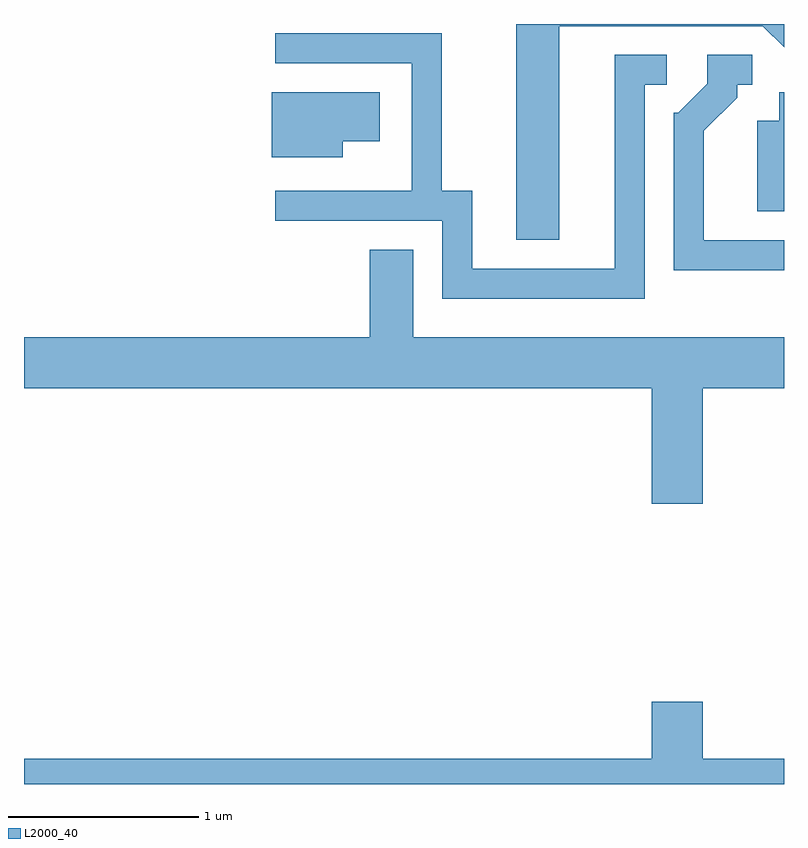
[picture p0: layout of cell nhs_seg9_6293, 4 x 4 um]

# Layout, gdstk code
import gdstk
lib = gdstk.Library(unit=1e-6, precision=1e-09)
def P(c, l, *ps):  # polygons
    for p in ps: c.add(gdstk.Polygon(p, *l))
L2000_40 = (2000, 40)

nhs_seg9_6293 = lib.new_cell('nhs_seg9_6293')
P(nhs_seg9_6293, L2000_40, [(374.429,1960.421),(375.499,1960.421),(375.611,1960.309),(375.611,1960.432),(374.201,1960.432),(374.201,1959.296),(374.429,1959.296)],
  [(374.879,1960.111),(374.993,1960.111),(374.993,1960.269),(374.721,1960.269),(374.721,1959.144),(373.969,1959.144),(373.969,1959.554),(373.809,1959.554),(373.809,1960.384),(372.933,1960.384),(372.933,1960.226),(373.651,1960.226),(373.651,1959.554),(372.933,1959.554),(372.933,1959.396),(373.811,1959.396),(373.811,1958.986),(374.879,1958.986)],
  [(375.611,1959.294),(375.189,1959.294),(375.189,1959.869),(375.364,1960.044),(375.364,1960.111),(375.443,1960.111),(375.443,1960.269),(375.206,1960.269),(375.206,1960.117),(375.054,1959.964),(375.031,1959.964),(375.031,1959.136),(375.611,1959.136)],
  [(375.611,1960.074),(375.586,1960.074),(375.586,1959.924),(375.471,1959.924),(375.471,1959.446),(375.611,1959.446)],
  [(373.289,1959.816),(373.484,1959.816),(373.484,1960.074),(372.916,1960.074),(372.916,1959.731),(373.289,1959.731)],
  [(375.184,1958.516),(375.611,1958.516),(375.611,1958.784),(373.659,1958.784),(373.659,1959.244),(373.431,1959.244),(373.431,1958.784),(371.611,1958.784),(371.611,1958.516),(374.916,1958.516),(374.916,1957.906),(375.184,1957.906)],
  [(375.611,1956.564),(375.184,1956.564),(375.184,1956.864),(374.916,1956.864),(374.916,1956.564),(371.611,1956.564),(371.611,1956.432),(375.611,1956.432)])

lib.write_gds('nhs_seg9_6293.gds')
